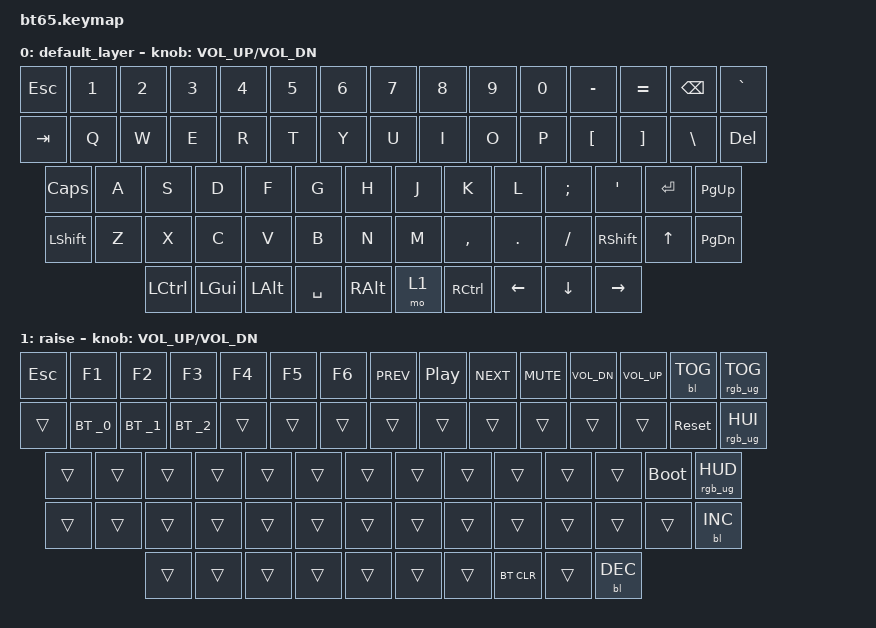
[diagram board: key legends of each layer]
#include <behaviors.dtsi>
#include <dt-bindings/zmk/keys.h>
#include <dt-bindings/zmk/bt.h>
#include <dt-bindings/zmk/rgb.h>
#include <dt-bindings/zmk/backlight.h>
#include <dt-bindings/zmk/ext_power.h>


/ {
	keymap {
		compatible = "zmk,keymap";

		default_layer {
				// ------------------------------------------------------------------------------------------------------------
				// |  `  |  1  |  2  |  3  |  4  |  5  |  6  |  7  |  8  |  9  |  0  |  -  |  =  |BKSP | INS		|
				// | TAB  |  Q  |  W  |  E  |  R  |  T  |  Y  |  U  |  I  |  O  |  P  |  [  |  ]  |   \    | DEL		|
				// | CAPS  |  A  |  S  |  D  |  F  |  G  |  H  |  J  |  K  |  L  |  ;  |  '  |     ENTER    |PGUP	|
				// |  SHIFT  |  Z  |  X  |  C  |  V  |  B  |  N  |  M  |  ,  |  .  | /   |   SHIFT  | UP   | PGDN|
				// |  CTL  |  WIN  |  ALT  |            SPACE               | ALT | 1    |  MENU| LEFT |  DOWN    | RIGHT	|
				// ------------------------------------------------------------------------------------------------------------
			bindings = <

				&kp ESC &kp N1 &kp N2 &kp N3 &kp N4 &kp N5 &kp N6 &kp N7 &kp  N8   &kp  N9   &kp N0 &kp MINUS &kp EQUAL &kp BSPC &kp GRAVE
				&kp TAB  &kp Q  &kp W  &kp E  &kp R  &kp T  &kp Y  &kp U  &kp  I    &kp  O  &kp  P   &kp LBKT &kp RBKT  	&kp BSLH &kp DEL
				&kp CLCK  &kp A  &kp S  &kp D  &kp F  &kp G  &kp H  &kp J  &kp  K    &kp  L  &kp SEMI &kp SQT           	&kp RET &kp PG_UP
				&kp LSHFT &kp Z  &kp X  &kp C  &kp V  &kp B  &kp N  &kp M  &kp COMMA &kp DOT &kp FSLH   &kp RSHFT &kp UP &kp PG_DN
				&kp LCTRL &kp LGUI &kp LALT            &kp SPACE                          &kp RALT  &mo 1 &kp RCTRL &kp LEFT &kp DOWN &kp RIGHT
			>;
			sensor-bindings = <&inc_dec_kp C_VOL_UP C_VOL_DN>;
		};
		raise {
			bindings = <
				&kp ESC &kp F1 &kp F2 &kp F3 &kp F4 &kp F5 &kp F6 &kp C_PREV &kp  C_PP   &kp  C_NEXT   &kp C_MUTE  &kp C_VOL_DN &kp C_VOL_UP &bl BL_TOG &rgb_ug RGB_TOG
				&trans &bt BT_SEL_0 &bt BT_SEL_1 &bt BT_SEL_2 &trans &trans &trans &trans &trans &trans &trans &trans &trans &sys_reset &rgb_ug RGB_HUI
				&trans    &trans &trans &trans &trans &trans &trans &trans &trans &trans &trans  &trans   &bootloader &rgb_ug RGB_HUD
				&trans &trans &trans &trans &trans &trans &trans &trans &trans &trans &trans  &trans &trans &bl BL_INC
				&trans &trans  &trans              &trans                            &trans   &trans   &trans &bt BT_CLR &trans &bl BL_DEC
			>;
			sensor-bindings = <&inc_dec_kp C_VOL_UP C_VOL_DN>;
		};
	};
};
